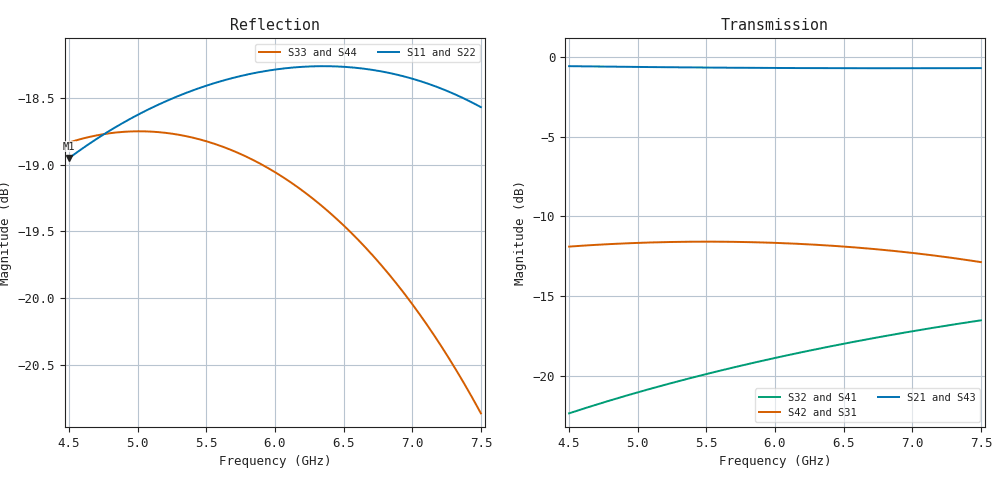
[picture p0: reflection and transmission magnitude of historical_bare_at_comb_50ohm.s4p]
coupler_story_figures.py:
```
"""Figures for the consolidated design note; only saved EM data and explicit circuit calculations."""
from pathlib import Path
import json
import numpy as np
import matplotlib
matplotlib.use('Agg')
import matplotlib.pyplot as plt
from matplotlib.patches import Rectangle, Circle
HERE=Path(__file__).resolve().parent
OUT=HERE.parents[1]/'Notes/FunRad/images/coupler'
OUT.mkdir(exist_ok=True)
plt.rcParams.update({'font.size':11,'axes.spines.top':False,'axes.spines.right':False,'axes.grid':True,'grid.alpha':.2})
def load(name):
    for p in (HERE/'results_redesign').glob('*/config.json'):
        if json.loads(p.read_text())['name']==name:return np.load(p.parent/'raw.npz')
    raise KeyError(name)
def save(fig,n):fig.tight_layout();fig.savefig(OUT/n,dpi=170,bbox_inches='tight');plt.close(fig)

fig,axs=plt.subplots(2,2,figsize=(11,7))
for name,label,color in [('final51_bare','No comb, PEC','#7c8792'),('final51','Selected geometry, PEC','#23816b'),('final51_copper9','Selected geometry, finite copper','#ca7033')]:
    d=load(name);s=d['Smat50'];db=20*np.log10(abs(s));f=d['f']/1e9
    for ax,y in zip(axs.flat,[db[:,2,0],db[:,2,0]-db[:,3,0],-db[:,0,0],-db[:,1,0]]):ax.plot(f,y,'o-',label=label,color=color)
for ax,title,ylabel in zip(axs.flat,['Coupling','Directivity','Input return loss','Through insertion loss'],['S31 (dB)','S31 − S41 (dB)','−S11 (dB)','−S21 (dB)']):ax.set(title=title,xlabel='GHz',ylabel=ylabel)
axs[0,0].axhspan(-15.3,-14.7,color='#bde3c7',alpha=.35);axs[0,0].legend(fontsize=9)
fig.suptitle('Final symmetric geometry: directly solved points, 50 Ω, same edge refinement')
save(fig,'final_response.png')

# Historical truncated network: capacitance optimization is circuit algebra, not new EM.
d=np.load(HERE/'results/sparams_opt_nocomb_atcomb.npz');f=d['f'];s=d['Smat50'];I=np.eye(4)
y=np.linalg.solve(I+s,I-s)/50
stamp=np.zeros((4,4))
for a,b in [(0,2),(1,3)]:stamp[a,a]+=1;stamp[b,b]+=1;stamp[a,b]-=1;stamp[b,a]-=1
caps=np.arange(0,150.01,.5);mask=(f>=5.7e9)&(f<=5.9e9);direct=[];dcurves=[]
def response(cap):
    yy=y+1j*2*np.pi*f[:,None,None]*cap*1e-15*stamp
    return np.linalg.solve(I+50*yy,I-50*yy)
for cap in caps:
    ss=response(cap);curve=20*np.log10(abs(ss[mask,2,0])/abs(ss[mask,3,0]));direct.append(float(np.min(curve)));dcurves.append(curve)
best=float(caps[np.argmax(direct)])
fig,axs=plt.subplots(2,2,figsize=(12,9))
for cap,label,color in [(0,'No capacitor','#748493'),(40,'40 fF: under-compensated','#d99225'),(best,f'{best:g} fF: best worst-band D','#208b75'),(120,'120 fF: over-compensated','#c24d48')]:
    ss=response(cap);axs[0,0].plot(f[mask]/1e9,20*np.log10(abs(ss[mask,3,0])),label=label,color=color,lw=2)
    axs[1,0].plot(f[mask]/1e9,20*np.log10(abs(ss[mask,2,0])),color=color,lw=2)
axs[0,0].set(xlabel='Frequency (GHz)',ylabel='Isolation S41 (dB)',title='1 · Add the two capacitors outside the EM block');axs[0,0].legend(fontsize=9)
ok=caps[np.array(direct)>=20]
axs[0,1].axvspan(ok.min(),ok.max(),color='#d7eee4');axs[0,1].axhline(20,color='#6d7b83',ls='--',lw=1)
axs[0,1].plot(caps,direct,color='#285d89',lw=2);axs[0,1].scatter([best],[max(direct)],color='#cf622f',marker='*',s=170,zorder=3)
axs[0,1].annotate(f'{best:g} fF → {max(direct):.2f} dB\nMaximize the worst band point',(best,max(direct)),xytext=(7,27),fontsize=10,arrowprops=dict(arrowstyle='->',lw=1.7))
axs[0,1].text(4,2,f'D ≥ 20 dB: {ok.min():g}–{ok.max():g} fF per end',fontsize=10)
axs[0,1].set(xlabel='Each capacitor C (fF)',ylabel='Minimum fitted-band directivity (dB)',ylim=(-2,33),title='2 · Sweep one shared value for both capacitors')
axs[1,0].set(xlabel='Frequency (GHz)',ylabel='Coupling S31 (dB)',title='3 · Check the coupling penalty')
mesh=axs[1,1].pcolormesh(f[mask]/1e9,caps,np.array(dcurves),shading='auto',cmap='viridis',vmin=0,vmax=35)
axs[1,1].axhline(best,color='white',ls='--',lw=1.8);axs[1,1].text(5.705,best+4,f'Selected {best:g} fF',color='white',fontsize=10)
axs[1,1].set(xlabel='Frequency (GHz)',ylabel='Each capacitor C (fF)',title='4 · Follow the null across the band')
fig.colorbar(mesh,ax=axs[1,1],label='Directivity (dB)')
fig.suptitle('Saved bare EM network + two ideal lumped capacitors · historical geometry · 50 Ω',fontsize=14)
save(fig,'lumped_cap_method.png')
(HERE/'catalogue/lumped_cap_check.json').write_text(json.dumps(dict(cap_fF=best,d_min_db=max(direct),reference_ohm=50,source='results/sparams_opt_nocomb_atcomb.npz',sampling='legacy fitted S-matrix + circuit calculation'),indent=2))
print('Historical 50-ohm cap optimum',best,max(direct))

# Touchstone four-port matrix is row-major (unlike the special two-port ordering).
qucs=HERE/'catalogue/qucs';qucs.mkdir(exist_ok=True)
with (qucs/'historical_bare_at_comb_50ohm.s4p').open('w') as fp:
    fp.write('! Historical bare coupler, fitted EM network; reference planes at comb connections.\n! No capacitors included. Port order 1 input, 2 through, 3 coupled, 4 isolated.\n# Hz S RI R 50\n')
    for freq,smat in zip(f,s):
        for i,row in enumerate(smat):fp.write((f'{freq:.12g} ' if i==0 else '  ')+' '.join(f'{v.real:.16g} {v.imag:.16g}' for v in row)+'\n')
(qucs/'README.md').write_text('''# EM network + lumped capacitors in QUCS

Import `historical_bare_at_comb_50ohm.s4p` into a four-port S-parameter-file component in QUCS (Qucsator S-parameter analysis). The file contains the historical bare network, including its EM parasitics, at the comb connection reference planes. It is fitted saved EM data, not new direct samples of the final symmetric geometry.

Connect Cleft from terminal 1 to 3 and Cright from 2 to 4. Assign both the same parameter C. Attach four 50-ohm RF ports; ground the file component's additional reference pin if exposed by that component. Sweep S parameters over 5.7–5.9 GHz; sweep C from 0 to 150 fF (0.5 fF in the supplied Python calculation). C=0 means omit both capacitors. Plot S31 and S41 in dB, and D=S31_dB−S41_dB; maximize minimum D over the band.

The shipped plot is computed by S→Y, stamping the two capacitor admittances, and Y→S. This is the same linear circuit problem as the diagram, but QUCS itself was not run to generate those curves. Its result should reproduce the 85 fF / 25.78 dB optimum subject to interpolation and sweep spacing. Capacitors are bridge components between signal lines, not capacitors to ground; 2C is only the odd-mode half-circuit equivalent.

The final etched comb is a distributed geometry, not two imposed 85 fF parts. Never attach the caps at external board ports and interpret that answer as the required comb capacitance.
''',encoding='utf-8')
fig,ax=plt.subplots(figsize=(12,6));ax.set(xlim=(0,10),ylim=(-.5,4.6));ax.axis('off')
ax.add_patch(Rectangle((3,1),4,2.5,fc='#e8f0f6',ec='#49687c',lw=2))
ax.text(5,2.6,'4-port S-parameter file',ha='center',fontsize=15,fontweight='bold')
ax.text(5,2,'Bare EM coupler\nNo combs / no lumped capacitors inside',ha='center',va='center',fontsize=12)
for x,edge,outer,nums in [(2,3,.7,[1,3]),(8,7,9.3,[2,4])]:
    for yy,num in zip([3.15,1.35],nums):
        ax.plot([outer,edge],[yy,yy],color='#334d60',lw=2);ax.scatter([x],[yy],s=22,color='#334d60')
        ax.add_patch(Circle((outer,yy),.16,fc='white',ec='#334d60',lw=1.7))
        ax.text(outer,yy+.28,f'P{num} · 50 Ω',ha='center',fontsize=10)
        ax.text(edge+(.15 if edge==3 else -.15),yy,str(num),ha='center',va='bottom',fontsize=11)
    ax.plot([x,x],[1.35,2.13],color='#cf713c',lw=2);ax.plot([x,x],[2.37,3.15],color='#cf713c',lw=2)
    ax.plot([x-.28,x+.28],[2.13,2.13],color='#cf713c',lw=2.8);ax.plot([x-.28,x+.28],[2.37,2.37],color='#cf713c',lw=2.8)
    ax.text(x+(-.4 if x==2 else .4),2.25,'Cleft = C' if x==2 else 'Cright = C',ha='right' if x==2 else 'left',va='center',fontsize=12,color='#a65224')
ax.text(5,.75,'Reference planes are at the physical comb connection points',ha='center',fontsize=10,color='#49687c')
ax.text(5,.13,'Solve bare EM once  →  export .s4p  →  vary two external caps in QUCS',ha='center',fontsize=13,fontweight='bold')
ax.text(5,-.22,'No remeshing or repeated 3-D solve is needed for the capacitor sweep.',ha='center',fontsize=11)
ax.set_title('What the lumped-capacitor search actually does',fontsize=16)
save(fig,'qucs_cap_workflow.png')
```
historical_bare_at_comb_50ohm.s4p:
! Historical bare coupler, fitted EM network; reference planes at comb connections.
! No capacitors included. Port order 1 input, 2 through, 3 coupled, 4 isolated.
# Hz S RI R 50
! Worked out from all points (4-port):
!   601 points, 4.5 GHz to 7.5 GHz, reference 50 ohm
!   strongest paths, dB at 4.5 GHz, 5.25 GHz, 6 GHz, 6.75 GHz, 7.5 GHz:
!     S21: -0.6, -0.7, -0.7, -0.7, -0.7
!     S43: -0.6, -0.7, -0.7, -0.7, -0.7
!     S42: -11.9, -11.6, -11.7, -12.1, -12.9
!     S31: -11.9, -11.6, -11.7, -12.1, -12.9
!     S32: -22.3, -20.4, -18.9, -17.6, -16.5
!     S41: -22.4, -20.5, -18.9, -17.6, -16.6
!   lowest |S11| = -19.0 dB at 4.5 GHz (marker M1), VSWR 1.25, Z = 39.9 - j1.26 ohm
!   |S11| at or under -10 dB: start of sweep to end of sweep
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4.5e9  -0.1118 -0.0155  -0.0399 -0.9336  0.2534 -0.0195  -0.0724 -0.0223
       -0.0399 -0.9336  -0.1116 -0.0128  -0.073 -0.0224  0.2534 -0.0206
       0.2534 -0.0195  -0.073 -0.0224  -0.1143 0.00442  -0.1747 -0.916
       -0.0724 -0.0223  0.2534 -0.0206  -0.1747 -0.9162  -0.1149 0.00297
5.885e9  -0.1167 0.0338  -0.4586 -0.8009  0.2233 -0.1371  -0.1046 0.0349
         -0.4586 -0.8009  -0.1148 0.0377  -0.1052 0.0353  0.2224 -0.1387
         0.2233 -0.1371  -0.1052 0.0353  -0.0992 0.0527  -0.6015 -0.6986
         -0.1046 0.0349  0.2224 -0.1387  -0.6016 -0.6987  -0.1006 0.0516
7.5e9  -0.0828 0.0839  -0.812 -0.4357  0.1023 -0.2027  -0.0743 0.1287
       -0.812 -0.4357  -0.0778 0.0872  -0.0742 0.1296  0.0999 -0.2041
       0.1023 -0.2027  -0.0742 0.1296  -0.0488 0.0762  -0.8937 -0.2254
       -0.0743 0.1287  0.0999 -0.2041  -0.8938 -0.2254  -0.0498 0.0764
